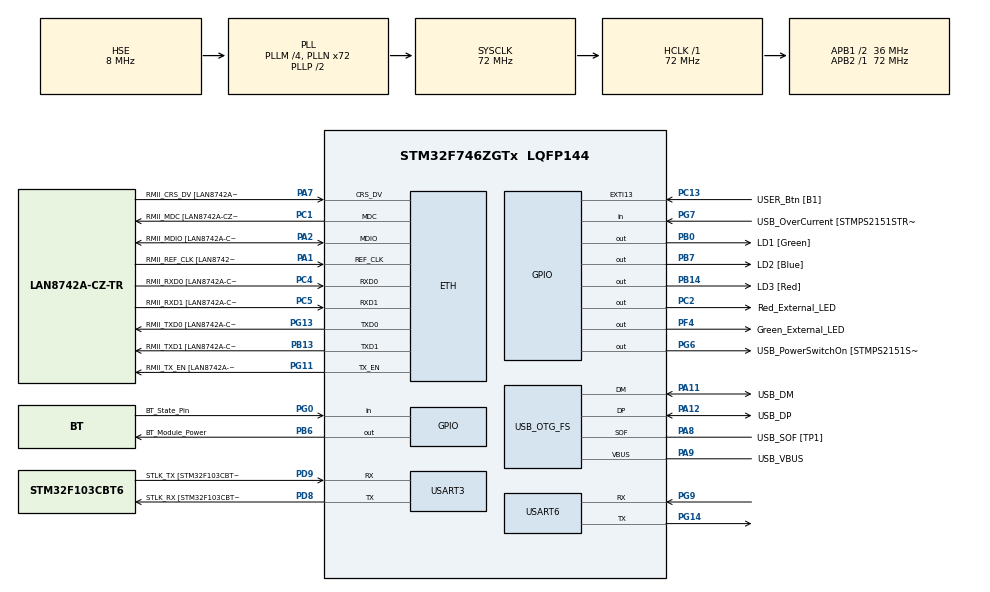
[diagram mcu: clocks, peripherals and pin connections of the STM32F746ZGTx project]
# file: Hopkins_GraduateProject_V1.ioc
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ETH.MediaInterface=HAL_ETH_RMII_MODE
ETH.PHY_Name=LAN8742A_PHY_ADDRESS
ETH.PHY_Value=0
ETH.PhyAddress=0
Mcu.Family=STM32F7
Mcu.Name=STM32F746ZGTx
Mcu.Package=LQFP144
NVIC.PriorityGroup=NVIC_PRIORITYGROUP_4
PA1.GPIO_Label=RMII_REF_CLK [LAN8742A-CZ-TR_REFCLK0]
PA1.Mode=RMII
PA1.Signal=ETH_REF_CLK
PA10.GPIO_Label=USB_ID
PA10.Signal=USB_OTG_FS_ID
PA11.GPIO_Label=USB_DM
PA11.Mode=Device_Only
PA11.Signal=USB_OTG_FS_DM
PA12.GPIO_Label=USB_DP
PA12.Mode=Device_Only
PA12.Signal=USB_OTG_FS_DP
PA13.GPIO_Label=TMS
PA13.Mode=Serial_Wire
PA13.Signal=SYS_JTMS-SWDIO
PA14.GPIO_Label=TCK
PA14.Mode=Serial_Wire
PA14.Signal=SYS_JTCK-SWCLK
PA2.GPIO_Label=RMII_MDIO [LAN8742A-CZ-TR_MDIO]
PA2.Mode=RMII
PA2.Signal=ETH_MDIO
PA7.GPIO_Label=RMII_CRS_DV [LAN8742A-CZ-TR_CRS_DV]
PA7.Mode=RMII
PA7.Signal=ETH_CRS_DV
PA8.GPIO_Label=USB_SOF [TP1]
PA8.Mode=Activate_SOF_FS
PA8.Signal=USB_OTG_FS_SOF
PA9.GPIO_Label=USB_VBUS
PA9.Mode=Activate_VBUS
PA9.Signal=USB_OTG_FS_VBUS
PB0.GPIO_Label=LD1 [Green]
PB0.Signal=GPIO_Output
PB13.GPIO_Label=RMII_TXD1 [LAN8742A-CZ-TR_TXD1]
PB13.Mode=RMII
PB13.Signal=ETH_TXD1
PB14.GPIO_Label=LD3 [Red]
PB14.Signal=GPIO_Output
PB3.GPIO_Label=SW0
PB3.Signal=SYS_JTDO-SWO
PB6.GPIO_Label=BT_Module_Power
PB6.GPIO_Speed=GPIO_SPEED_FREQ_HIGH
PB6.Signal=GPIO_Output
PB7.GPIO_Label=LD2 [Blue]
PB7.Signal=GPIO_Output
PC1.GPIO_Label=RMII_MDC [LAN8742A-CZ-TR_MDC]
PC1.Mode=RMII
PC1.Signal=ETH_MDC
PC13.GPIO_Label=USER_Btn [B1]
PC13.Signal=GPXTI13
PC14/OSC32_IN.Mode=LSE-External-Oscillator
PC14/OSC32_IN.Signal=RCC_OSC32_IN
PC15/OSC32_OUT.Mode=LSE-External-Oscillator
PC15/OSC32_OUT.Signal=RCC_OSC32_OUT
PC2.GPIO_Label=Red_External_LED
PC2.GPIO_Speed=GPIO_SPEED_FREQ_HIGH
PC2.Signal=GPIO_Output
PC4.GPIO_Label=RMII_RXD0 [LAN8742A-CZ-TR_RXD0]
PC4.Mode=RMII
PC4.Signal=ETH_RXD0
PC5.GPIO_Label=RMII_RXD1 [LAN8742A-CZ-TR_RXD1]
PC5.Mode=RMII
PC5.Signal=ETH_RXD1
PD8.GPIO_Label=STLK_RX [STM32F103CBT6_PA3]
PD8.GPIO_PuPd=GPIO_PULLUP
PD8.Mode=Asynchronous
PD8.Signal=USART3_TX
PD9.GPIO_Label=STLK_TX [STM32F103CBT6_PA2]
PD9.GPIO_PuPd=GPIO_PULLUP
PD9.Mode=Asynchronous
PD9.Signal=USART3_RX
PF4.GPIO_Label=Green_External_LED
PF4.GPIO_Speed=GPIO_SPEED_FREQ_HIGH
PF4.Signal=GPIO_Output
PG0.GPIO_Label=BT_State_Pin
PG0.Signal=GPIO_Input
PG11.GPIO_Label=RMII_TX_EN [LAN8742A-CZ-TR_TXEN]
PG11.Mode=RMII
PG11.Signal=ETH_TX_EN
PG13.GPIO_Label=RMII_TXD0 [LAN8742A-CZ-TR_TXD0]
PG13.Mode=RMII
PG13.Signal=ETH_TXD0
PG14.Mode=Asynchronous
PG14.Signal=USART6_TX
PG6.GPIO_Label=USB_PowerSwitchOn [STMPS2151STR_EN]
PG6.Signal=GPIO_Output
PG7.GPIO_Label=USB_OverCurrent [STMPS2151STR_FAULT]
PG7.Signal=GPIO_Input
PG9.Mode=Asynchronous
PG9.Signal=USART6_RX
PH0/OSC_IN.GPIO_Label=MCO [STM32F103CBT6_PA8]
PH0/OSC_IN.Mode=HSE-External-Clock-Source
PH0/OSC_IN.Signal=RCC_OSC_IN
PH1/OSC_OUT.Mode=HSE-External-Clock-Source
PH1/OSC_OUT.Signal=RCC_OSC_OUT
ProjectManager.HeapSize=0x200
ProjectManager.StackSize=0x400
ProjectManager.TargetToolchain=STM32CubeIDE
RCC.48MHZClocksFreq_Value=24000000
RCC.AHBFreq_Value=72000000
RCC.APB1CLKDivider=RCC_HCLK_DIV2
RCC.APB1Freq_Value=36000000
RCC.APB1TimFreq_Value=72000000
RCC.APB2Freq_Value=72000000
RCC.APB2TimFreq_Value=72000000
RCC.CortexFreq_Value=72000000
RCC.HCLKFreq_Value=72000000
RCC.HSE_VALUE=8000000
RCC.HSI_VALUE=16000000
RCC.PLLM=4
RCC.PLLMUL=RCC_PLL_MUL9
RCC.PLLN=72
RCC.PLLQ=3
RCC.PRESCALERUSB=RCC_USBCLKSOURCE_PLL_DIV1_5
RCC.SYSCLKFreq_VALUE=72000000
RCC.SYSCLKSource=RCC_SYSCLKSOURCE_PLLCLK
RCC.SYSCLKSourceVirtual=RCC_SYSCLKSOURCE_PLLCLK
RCC.USBFreq_Value=48000000
RCC.VCOOutputFreq_Value=144000000
USART3.VirtualMode-Asynchronous=VM_ASYNC
USART6.VirtualMode-Asynchronous=VM_ASYNC
USB_OTG_FS.VirtualMode=Device_Only
board=NUCLEO-F746ZG

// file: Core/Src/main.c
/* USER CODE BEGIN Header */
/**
 ******************************************************************************
 * @file           : main.c
 * @brief          : Main program body
 ******************************************************************************
 * @attention
 *
 * Copyright (c) 2023 STMicroelectronics.
 * All rights reserved.
 *
 * This software is licensed under terms that can be found in the LICENSE file
 * in the root directory of this software component.
 * If no LICENSE file comes with this software, it is provided AS-IS.
 *
 ******************************************************************************
 */
/* USER CODE END Header */
#include "main.h"
#include "string.h"

#if defined ( __ICCARM__ ) /*!< IAR Compiler */
#pragma location=0x2004c000
ETH_DMADescTypeDef  DMARxDscrTab[ETH_RX_DESC_CNT]; /* Ethernet Rx DMA Descriptors */
#pragma location=0x2004c0a0
ETH_DMADescTypeDef  DMATxDscrTab[ETH_TX_DESC_CNT]; /* Ethernet Tx DMA Descriptors */

#elif defined ( __CC_ARM )  /* MDK ARM Compiler */

__attribute__((at(0x2004c000))) ETH_DMADescTypeDef  DMARxDscrTab[ETH_RX_DESC_CNT]; /* Ethernet Rx DMA Descriptors */
__attribute__((at(0x2004c0a0))) ETH_DMADescTypeDef  DMATxDscrTab[ETH_TX_DESC_CNT]; /* Ethernet Tx DMA Descriptors */

#elif defined ( __GNUC__ ) /* GNU Compiler */
ETH_DMADescTypeDef DMARxDscrTab[ETH_RX_DESC_CNT] __attribute__((section(".RxDecripSection"))); /* Ethernet Rx DMA Descriptors */
ETH_DMADescTypeDef DMATxDscrTab[ETH_TX_DESC_CNT] __attribute__((section(".TxDecripSection")));   /* Ethernet Tx DMA Descriptors */

#endif

ETH_TxPacketConfig TxConfig;

ETH_HandleTypeDef heth;

UART_HandleTypeDef huart3;
UART_HandleTypeDef huart6;

PCD_HandleTypeDef hpcd_USB_OTG_FS;

/* USER CODE BEGIN PV */
char receiveBuffer[1]; // Global buffer for one byte of data
char receivedData[1000]; // Global buffer for storing received messages
uint8_t receivedDataIndex = 0; // Index for storing data in receivedData
/* USER CODE END PV */

void SystemClock_Config(void);
static void MX_GPIO_Init(void);
static void MX_ETH_Init(void);
static void MX_USART3_UART_Init(void);
static void MX_USB_OTG_FS_PCD_Init(void);
static void MX_USART6_UART_Init(void);

/* USER CODE BEGIN 0 */
GPIO_PinState statePinStatus;
//void set_time (void)
//{
//  RTC_TimeTypeDef sTime;
//  RTC_DateTypeDef sDate;
//  sTime.Hours = 0x10; // set hours
//  sTime.Minutes = 0x20; // set minutes
//  sTime.Seconds = 0x30; // set seconds
//  sTime.DayLightSaving = RTC_DAYLIGHTSAVING_NONE;
//  sTime.StoreOperation = RTC_STOREOPERATION_RESET;
//  if (HAL_RTC_SetTime(&hrtc, &sTime, RTC_FORMAT_BCD) != HAL_OK)
//  {
//    Error_Handler(__FILE__, __LINE__);
//  }
//  sDate.WeekDay = RTC_WEEKDAY_THURSDAY; //day
//  sDate.Month = RTC_MONTH_AUGUST; //month
//  sDate.Date = 0x9; // date
//  sDate.Year = 0x18; // year
//  if (HAL_RTC_SetDate(&hrtc, &sDate, RTC_FORMAT_BCD) != HAL_OK)
//  {
//    _Error_Handler(__FILE__, __LINE__);
//  }
//  HAL_RTCEx_BKUPWrite(&hrtc, RTC_BKP_DR1, 0x32F2); // backup register
//}
//
//void get_time(void)
//{
// RTC_DateTypeDef gDate;
// RTC_TimeTypeDef gTime;
///* Get the RTC current Time */
// HAL_RTC_GetTime(&hrtc, &gTime, RTC_FORMAT_BIN);
///* Get the RTC current Date */
// HAL_RTC_GetDate(&hrtc, &gDate, RTC_FORMAT_BIN);
///* Display time Format: hh:mm:ss */
// sprintf((char*)time,"%02d:%02d:%02d",gTime.Hours, gTime.Minutes, gTime.Seconds);
///* Display date Format: dd-mm-yy */
// sprintf((char*)date,"%02d-%02d-%2d",gDate.Date, gDate.Month, 2000 + gDate.Year);
//}
//
//void set_alarm (void)
//{
//  sAlarm.AlarmTime.Hours = 0x10; // hours
//  sAlarm.AlarmTime.Minutes = 0x31; // min
//  sAlarm.AlarmTime.Seconds = 0x00; //seconds
//  sAlarm.AlarmTime.SubSeconds = 0x0;
//  sAlarm.AlarmTime.DayLightSaving = RTC_DAYLIGHTSAVING_NONE;
//  sAlarm.AlarmTime.StoreOperation = RTC_STOREOPERATION_RESET;
//  sAlarm.AlarmMask = RTC_ALARMMASK_NONE;
//  sAlarm.AlarmSubSecondMask = RTC_ALARMSUBSECONDMASK_ALL;
//  sAlarm.AlarmDateWeekDaySel = RTC_ALARMDATEWEEKDAYSEL_DATE;
//  sAlarm.AlarmDateWeekDay = 0x9; // DATE
//  sAlarm.Alarm = RTC_ALARM_A;
//  if (HAL_RTC_SetAlarm_IT(&hrtc, &sAlarm, RTC_FORMAT_BCD) != HAL_OK)
//  {
//    _Error_Handler(__FILE__, __LINE__);
//  }
//}
//
//void HAL_RTC_AlarmAEventCallback(RTC_HandleTypeDef *hrtc)
//{
//  HAL_GPIO_WritePin (GPIOB, GPIO_PIN_0, GPIO_PIN_SET; // turn on the LED
//}
/* USER CODE END 0 */

int main(void)
{

  /* MCU Configuration--------------------------------------------------------*/

  /* Reset of all peripherals, Initializes the Flash interface and the Systick. */
  HAL_Init();

  /* Configure the system clock */
  SystemClock_Config();

  /* Initialize all configured peripherals */
  MX_GPIO_Init();
  MX_ETH_Init();
  MX_USART3_UART_Init();
  MX_USB_OTG_FS_PCD_Init();
  MX_USART6_UART_Init();
  /* USER CODE BEGIN 2 */
	HAL_UART_Receive_IT(&huart6, (uint8_t *)receiveBuffer, sizeof(receiveBuffer));
	//alarmDisplay();
  /* USER CODE END 2 */

  /* Infinite loop */
	while (1)
	{

    /* USER CODE BEGIN 3 */
		HAL_GPIO_WritePin(GPIOB, GPIO_PIN_6, GPIO_PIN_SET); //Power (3.3V) for BTModule

		//BT signal received set to variable 'statePinStatus'
		statePinStatus = HAL_GPIO_ReadPin(GPIOG, GPIO_PIN_0);

		if (statePinStatus == GPIO_PIN_SET)
		{
			HAL_GPIO_WritePin(GPIOC, GPIO_PIN_2, GPIO_PIN_SET);
			// HAL_Delay(1000);
			//HAL_GPIO_WritePin(GPIOC, GPIO_PIN_2, GPIO_PIN_RESET);

			HAL_GPIO_WritePin(GPIOF, GPIO_PIN_4, GPIO_PIN_SET);
			// HAL_Delay(1000);
			// HAL_GPIO_WritePin(GPIOF, GPIO_PIN_4, GPIO_PIN_RESET);
		}
		else
		{
			HAL_GPIO_WritePin(GPIOC, GPIO_PIN_2, GPIO_PIN_SET);
			HAL_Delay(1000);
			HAL_GPIO_WritePin(GPIOC, GPIO_PIN_2, GPIO_PIN_RESET);

			HAL_GPIO_WritePin(GPIOF, GPIO_PIN_4, GPIO_PIN_SET);
			HAL_Delay(1000);
			HAL_GPIO_WritePin(GPIOF, GPIO_PIN_4, GPIO_PIN_RESET);
		}
	}
  /* USER CODE END 3 */
}

void SystemClock_Config(void)
{
  RCC_OscInitTypeDef RCC_OscInitStruct = {0};
  RCC_ClkInitTypeDef RCC_ClkInitStruct = {0};

  /** Configure LSE Drive Capability
  */
  HAL_PWR_EnableBkUpAccess();

  /** Configure the main internal regulator output voltage
  */
  __HAL_RCC_PWR_CLK_ENABLE();
  __HAL_PWR_VOLTAGESCALING_CONFIG(PWR_REGULATOR_VOLTAGE_SCALE3);

  /** Initializes the RCC Oscillators according to the specified parameters
  * in the RCC_OscInitTypeDef structure.
  */
  RCC_OscInitStruct.OscillatorType = RCC_OSCILLATORTYPE_HSE;
  RCC_OscInitStruct.HSEState = RCC_HSE_BYPASS;
  RCC_OscInitStruct.PLL.PLLState = RCC_PLL_ON;
  RCC_OscInitStruct.PLL.PLLSource = RCC_PLLSOURCE_HSE;
  RCC_OscInitStruct.PLL.PLLM = 4;
  RCC_OscInitStruct.PLL.PLLN = 72;
  RCC_OscInitStruct.PLL.PLLP = RCC_PLLP_DIV2;
  RCC_OscInitStruct.PLL.PLLQ = 3;
  if (HAL_RCC_OscConfig(&RCC_OscInitStruct) != HAL_OK)
  {
    Error_Handler();
  }

  /** Initializes the CPU, AHB and APB buses clocks
  */
  RCC_ClkInitStruct.ClockType = RCC_CLOCKTYPE_HCLK|RCC_CLOCKTYPE_SYSCLK
                              |RCC_CLOCKTYPE_PCLK1|RCC_CLOCKTYPE_PCLK2;
  RCC_ClkInitStruct.SYSCLKSource = RCC_SYSCLKSOURCE_PLLCLK;
  RCC_ClkInitStruct.AHBCLKDivider = RCC_SYSCLK_DIV1;
  RCC_ClkInitStruct.APB1CLKDivider = RCC_HCLK_DIV2;
  RCC_ClkInitStruct.APB2CLKDivider = RCC_HCLK_DIV1;

  if (HAL_RCC_ClockConfig(&RCC_ClkInitStruct, FLASH_LATENCY_2) != HAL_OK)
  {
    Error_Handler();
  }
}

static void MX_ETH_Init(void)
{

   static uint8_t MACAddr[6];

  heth.Instance = ETH;
  MACAddr[0] = 0x00;
  MACAddr[1] = 0x80;
  MACAddr[2] = 0xE1;
  MACAddr[3] = 0x00;
  MACAddr[4] = 0x00;
  MACAddr[5] = 0x00;
  heth.Init.MACAddr = &MACAddr[0];
  heth.Init.MediaInterface = HAL_ETH_RMII_MODE;
  heth.Init.TxDesc = DMATxDscrTab;
  heth.Init.RxDesc = DMARxDscrTab;
  heth.Init.RxBuffLen = 1524;

  if (HAL_ETH_Init(&heth) != HAL_OK)
  {
    Error_Handler();
  }

  memset(&TxConfig, 0 , sizeof(ETH_TxPacketConfig));
  TxConfig.Attributes = ETH_TX_PACKETS_FEATURES_CSUM | ETH_TX_PACKETS_FEATURES_CRCPAD;
  TxConfig.ChecksumCtrl = ETH_CHECKSUM_IPHDR_PAYLOAD_INSERT_PHDR_CALC;
  TxConfig.CRCPadCtrl = ETH_CRC_PAD_INSERT;

}

static void MX_USART3_UART_Init(void)
{

  huart3.Instance = USART3;
  huart3.Init.BaudRate = 115200;
  huart3.Init.WordLength = UART_WORDLENGTH_8B;
  huart3.Init.StopBits = UART_STOPBITS_1;
  huart3.Init.Parity = UART_PARITY_NONE;
  huart3.Init.Mode = UART_MODE_TX_RX;
  huart3.Init.HwFlowCtl = UART_HWCONTROL_NONE;
  huart3.Init.OverSampling = UART_OVERSAMPLING_16;
  huart3.Init.OneBitSampling = UART_ONE_BIT_SAMPLE_DISABLE;
  huart3.AdvancedInit.AdvFeatureInit = UART_ADVFEATURE_NO_INIT;
  if (HAL_UART_Init(&huart3) != HAL_OK)
  {
    Error_Handler();
  }

}

static void MX_USART6_UART_Init(void)
{

  huart6.Instance = USART6;
  huart6.Init.BaudRate = 115200;
  huart6.Init.WordLength = UART_WORDLENGTH_8B;
  huart6.Init.StopBits = UART_STOPBITS_1;
  huart6.Init.Parity = UART_PARITY_NONE;
  huart6.Init.Mode = UART_MODE_TX_RX;
  huart6.Init.HwFlowCtl = UART_HWCONTROL_NONE;
  huart6.Init.OverSampling = UART_OVERSAMPLING_16;
  huart6.Init.OneBitSampling = UART_ONE_BIT_SAMPLE_DISABLE;
  huart6.AdvancedInit.AdvFeatureInit = UART_ADVFEATURE_NO_INIT;
  if (HAL_UART_Init(&huart6) != HAL_OK)
  {
    Error_Handler();
  }

}

static void MX_USB_OTG_FS_PCD_Init(void)
{

  hpcd_USB_OTG_FS.Instance = USB_OTG_FS;
  hpcd_USB_OTG_FS.Init.dev_endpoints = 6;
  hpcd_USB_OTG_FS.Init.speed = PCD_SPEED_FULL;
  hpcd_USB_OTG_FS.Init.dma_enable = DISABLE;
  hpcd_USB_OTG_FS.Init.phy_itface = PCD_PHY_EMBEDDED;
  hpcd_USB_OTG_FS.Init.Sof_enable = ENABLE;
  hpcd_USB_OTG_FS.Init.low_power_enable = DISABLE;
  hpcd_USB_OTG_FS.Init.lpm_enable = DISABLE;
  hpcd_USB_OTG_FS.Init.vbus_sensing_enable = ENABLE;
  hpcd_USB_OTG_FS.Init.use_dedicated_ep1 = DISABLE;
  if (HAL_PCD_Init(&hpcd_USB_OTG_FS) != HAL_OK)
  {
    Error_Handler();
  }

}

static void MX_GPIO_Init(void)
{
  GPIO_InitTypeDef GPIO_InitStruct = {0};

  /* GPIO Ports Clock Enable */
  __HAL_RCC_GPIOC_CLK_ENABLE();
  __HAL_RCC_GPIOF_CLK_ENABLE();
  __HAL_RCC_GPIOH_CLK_ENABLE();
  __HAL_RCC_GPIOA_CLK_ENABLE();
  __HAL_RCC_GPIOB_CLK_ENABLE();
  __HAL_RCC_GPIOG_CLK_ENABLE();
  __HAL_RCC_GPIOD_CLK_ENABLE();

  /*Configure GPIO pin Output Level */
  HAL_GPIO_WritePin(Green_External_LED_GPIO_Port, Green_External_LED_Pin, GPIO_PIN_RESET);

  /*Configure GPIO pin Output Level */
  HAL_GPIO_WritePin(Red_External_LED_GPIO_Port, Red_External_LED_Pin, GPIO_PIN_RESET);

  /*Configure GPIO pin Output Level */
  HAL_GPIO_WritePin(GPIOB, LD1_Pin|LD3_Pin|BT_Module_Power_Pin|LD2_Pin, GPIO_PIN_RESET);

  /*Configure GPIO pin Output Level */
  HAL_GPIO_WritePin(USB_PowerSwitchOn_GPIO_Port, USB_PowerSwitchOn_Pin, GPIO_PIN_RESET);

  /*Configure GPIO pin : USER_Btn_Pin */
  GPIO_InitStruct.Pin = USER_Btn_Pin;
  GPIO_InitStruct.Mode = GPIO_MODE_IT_RISING;
  GPIO_InitStruct.Pull = GPIO_NOPULL;
  HAL_GPIO_Init(USER_Btn_GPIO_Port, &GPIO_InitStruct);

  /*Configure GPIO pin : Green_External_LED_Pin */
  GPIO_InitStruct.Pin = Green_External_LED_Pin;
  GPIO_InitStruct.Mode = GPIO_MODE_OUTPUT_PP;
  GPIO_InitStruct.Pull = GPIO_NOPULL;
  GPIO_InitStruct.Speed = GPIO_SPEED_FREQ_HIGH;
  HAL_GPIO_Init(Green_External_LED_GPIO_Port, &GPIO_InitStruct);

  /*Configure GPIO pin : Red_External_LED_Pin */
  GPIO_InitStruct.Pin = Red_External_LED_Pin;
  GPIO_InitStruct.Mode = GPIO_MODE_OUTPUT_PP;
  GPIO_InitStruct.Pull = GPIO_NOPULL;
  GPIO_InitStruct.Speed = GPIO_SPEED_FREQ_HIGH;
  HAL_GPIO_Init(Red_External_LED_GPIO_Port, &GPIO_InitStruct);

  /*Configure GPIO pins : LD1_Pin LD3_Pin LD2_Pin */
  GPIO_InitStruct.Pin = LD1_Pin|LD3_Pin|LD2_Pin;
  GPIO_InitStruct.Mode = GPIO_MODE_OUTPUT_PP;
  GPIO_InitStruct.Pull = GPIO_NOPULL;
  GPIO_InitStruct.Speed = GPIO_SPEED_FREQ_LOW;
  HAL_GPIO_Init(GPIOB, &GPIO_InitStruct);

  /*Configure GPIO pins : BT_State_Pin_Pin USB_OverCurrent_Pin */
  GPIO_InitStruct.Pin = BT_State_Pin_Pin|USB_OverCurrent_Pin;
  GPIO_InitStruct.Mode = GPIO_MODE_INPUT;
  GPIO_InitStruct.Pull = GPIO_NOPULL;
  HAL_GPIO_Init(GPIOG, &GPIO_InitStruct);

  /*Configure GPIO pin : USB_PowerSwitchOn_Pin */
  GPIO_InitStruct.Pin = USB_PowerSwitchOn_Pin;
  GPIO_InitStruct.Mode = GPIO_MODE_OUTPUT_PP;
  GPIO_InitStruct.Pull = GPIO_NOPULL;
  GPIO_InitStruct.Speed = GPIO_SPEED_FREQ_LOW;
  HAL_GPIO_Init(USB_PowerSwitchOn_GPIO_Port, &GPIO_InitStruct);

  /*Configure GPIO pin : BT_Module_Power_Pin */
  GPIO_InitStruct.Pin = BT_Module_Power_Pin;
  GPIO_InitStruct.Mode = GPIO_MODE_OUTPUT_PP;
  GPIO_InitStruct.Pull = GPIO_NOPULL;
  GPIO_InitStruct.Speed = GPIO_SPEED_FREQ_HIGH;
  HAL_GPIO_Init(BT_Module_Power_GPIO_Port, &GPIO_InitStruct);

}

/* USER CODE BEGIN 4 */
void HAL_RTC_AlarmAEventCallback(RTC_HandleTypeDef *hrtc)
{
	RTC_AlarmTypeDef sAlarm;
	HAL_RTC_GetAlarm(hrtc,&sAlarm,RTC_ALARM_A,FORMAT_BIN);
	if(sAlarm.AlarmTime.Seconds>58)
	{
		sAlarm.AlarmTime.Seconds=0;
	}
	else
	{
		sAlarm.AlarmTime.Seconds=sAlarm.AlarmTime.Seconds+1;
	}
	while(HAL_RTC_SetAlarm_IT(hrtc, &sAlarm, FORMAT_BIN)!=HAL_OK){}
	HAL_GPIO_TogglePin(GPIOA, GPIO_PIN_5);
}

//void HAL_UART_RxCpltCallback(UART_HandleTypeDef *huart)
//{
//	if (huart->Instance == USART6)
//	{
//		HAL_GPIO_WritePin(GPIOC, GPIO_PIN_2, GPIO_PIN_SET);
//		HAL_Delay(1000);
//		HAL_GPIO_WritePin(GPIOC, GPIO_PIN_2, GPIO_PIN_RESET);
//
//		HAL_GPIO_WritePin(GPIOF, GPIO_PIN_4, GPIO_PIN_SET);
//		HAL_Delay(1000);
//		HAL_GPIO_WritePin(GPIOF, GPIO_PIN_4, GPIO_PIN_RESET);
//
//		// Re-enable UART receive interrupt for the next byte
//		HAL_UART_Receive_IT(&huart6, (uint8_t *)receiveBuffer, sizeof(receiveBuffer));
//	}
//}

/* USER CODE END 4 */

void Error_Handler(void)
{
	__disable_irq();
	while (1)
	{
	}
}
